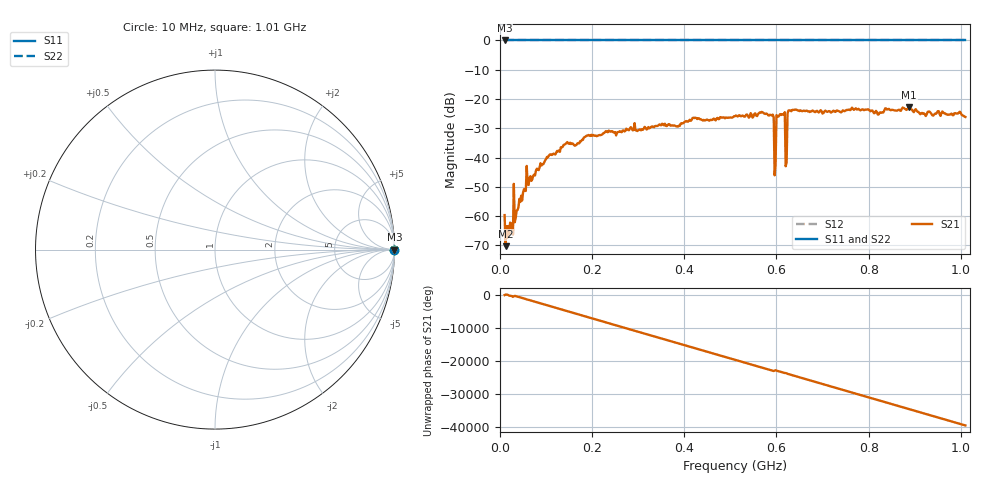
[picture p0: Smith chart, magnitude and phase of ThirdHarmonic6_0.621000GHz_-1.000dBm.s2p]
! 8/15/2025 8:25:57 PM
! C:\ANRITSUVNA\TEMP\TEMP.S2P
! CHANNEL.1
! TR.MEASUREMENT
! RAW.DATA
! RF.CORRECTION.OFF
! AVERAGING.OFF
! IF.BANDWIDTH: 5KHZ
! SWEEPTYPE:  FREQ.SWEEP(Linear)
! Reference Plane Port Info
! PORT:  PORT1  PORT2
! DISTANCE:  0  m  0  m
! TIME:  0  s  0  s
! PHASE.OFFSET:  0  deg.  0  deg.
! LOSS:  0  dB  0  dB
! REF.LOSS:  0  dB  0  dB
! REF.FREQ:  0  Hz  0  Hz
! Power Info
! POWER:  -20  dBm  -20  dBm
! EFF.POWER:  -20  dBm  -20  dBm
! SOURCE.ATTEN:  0  dB  0  dB
! TEST.ATTEN:  0  dB  0  dB
# GHZ S RI R 50.0
! FREQ.GHZ  S11RE  S11IM  S21RE  S21IM  S12RE  S12IM  S22RE  S22IM
!; PortSelection: Port_12
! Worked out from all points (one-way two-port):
!   501 points, 10 MHz to 1.01 GHz, reference 50 ohm
!   highest |S21| = -22.89 dB at 888 MHz (marker M1); lowest = -70.3 dB at 12 MHz (marker M2)
!   lowest |S11| = 0.0 dB at 10 MHz (marker M3)
!   |S11| at or under -10 dB: nowhere
!   |S22| runs from 0.0 to 0.0 dB; largest |S21 - S12| = 1.1
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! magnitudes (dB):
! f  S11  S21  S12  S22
! 10 MHz  0.0  -59.7  0.0  0.0
! 12 MHz  0.0  -70.3  0.0  0.0
! 24 MHz  0.0  -62.4  0.0  0.0
! 26 MHz  0.0  -64.3  0.0  0.0
! 62 MHz  0.0  -49.4  0.0  0.0
! 142 MHz  0.0  -35.4  0.0  0.0
! 178 MHz  0.0  -33.9  0.0  0.0
! 344 MHz  0.0  -29.0  0.0  0.0
! 510 MHz  0.0  -25.9  0.0  0.0
! 590 MHz  0.0  -25.7  0.0  0.0
! 594 MHz  0.0  -26.2  0.0  0.0
! 598 MHz  0.0  -42.4  0.0  0.0
! 600 MHz  0.0  -25.5  0.0  0.0
! 604 MHz  0.0  -26.0  0.0  0.0
! 614 MHz  0.0  -25.3  0.0  0.0
! 618 MHz  0.0  -24.5  0.0  0.0
! 624 MHz  0.0  -25.0  0.0  0.0
! 628 MHz  0.0  -23.9  0.0  0.0
! 678 MHz  0.0  -24.0  0.0  0.0
! 844 MHz  0.0  -23.4  0.0  0.0
! 888 MHz  0.0  -22.9  0.0  0.0
! 1.01 GHz  0.0  -26.1  0.0  0.0
